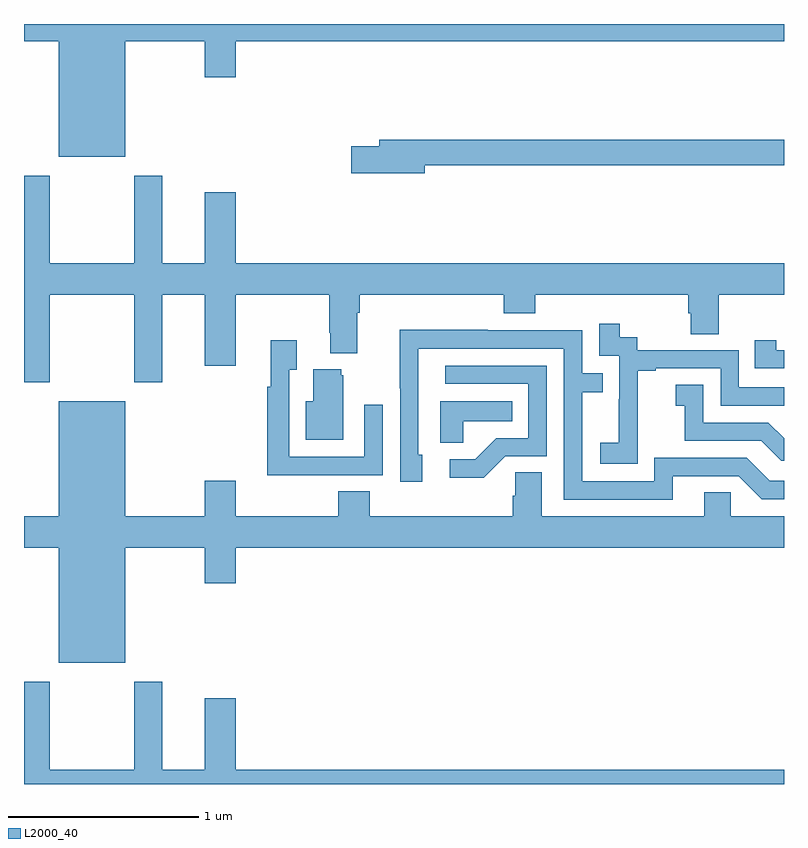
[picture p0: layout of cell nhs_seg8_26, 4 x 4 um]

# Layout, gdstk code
import gdstk
lib = gdstk.Library(unit=1e-6, precision=1e-09)
def P(c, l, *ps):  # polygons
    for p in ps: c.add(gdstk.Polygon(p, *l))
L2000_40 = (2000, 40)

nhs_seg8_26 = lib.new_cell('nhs_seg8_26')
P(nhs_seg8_26, L2000_40, [(111.532,1141.808),(111.95,1141.808),(111.95,1141.62),(112.114,1141.62),(112.114,1141.808),(115,1141.808),(115,1141.9),(111,1141.9),(111,1141.808),(111.182,1141.808),(111.182,1141.202),(111.532,1141.202)],
  [(113.11,1141.156),(115,1141.156),(115,1141.292),(112.871,1141.292),(112.871,1141.256),(112.722,1141.256),(112.722,1141.114),(113.11,1141.114)],
  [(111.135,1140.476),(111.58,1140.476),(111.58,1140.015),(111.727,1140.015),(111.727,1140.476),(111.95,1140.476),(111.95,1140.102),(112.114,1140.102),(112.114,1140.476),(112.606,1140.476),(112.606,1140.274),(112.613,1140.274),(112.613,1140.167),(112.753,1140.167),(112.753,1140.38),(112.766,1140.38),(112.766,1140.476),(113.525,1140.476),(113.525,1140.377),(113.69,1140.377),(113.69,1140.476),(114.497,1140.476),(114.497,1140.378),(114.509,1140.378),(114.509,1140.268),(114.657,1140.268),(114.657,1140.476),(115,1140.476),(115,1140.64),(112.114,1140.64),(112.114,1141.015),(111.95,1141.015),(111.95,1140.64),(111.727,1140.64),(111.727,1141.102),(111.58,1141.102),(111.58,1140.64),(111.135,1140.64),(111.135,1141.102),(111,1141.102),(111,1140.015),(111.135,1140.015)],
  [(114.231,1139.791),(114.23,1139.791),(114.23,1140.075),(114.325,1140.075),(114.325,1140.087),(114.666,1140.087),(114.666,1139.892),(115,1139.892),(115,1139.988),(114.762,1139.988),(114.762,1140.183),(114.228,1140.183),(114.228,1140.252),(114.136,1140.252),(114.136,1140.322),(114.027,1140.322),(114.027,1140.153),(114.132,1140.153),(114.132,1139.924),(114.131,1139.924),(114.131,1139.695),(114.033,1139.695),(114.033,1139.585),(114.231,1139.585)],
  [(114.415,1139.52),(114.762,1139.52),(114.882,1139.4),(115,1139.4),(115,1139.496),(114.924,1139.496),(114.804,1139.616),(114.318,1139.616),(114.318,1139.493),(113.937,1139.493),(113.937,1139.962),(114.047,1139.962),(114.047,1140.063),(113.937,1140.063),(113.937,1140.288),(113.441,1140.288),(113.441,1140.29),(112.978,1140.29),(112.978,1139.983),(112.98,1139.983),(112.98,1139.49),(113.095,1139.49),(113.095,1139.634),(113.076,1139.634),(113.076,1140.192),(113.841,1140.192),(113.841,1139.397),(114.415,1139.397)],
  [(115,1140.183),(114.958,1140.183),(114.958,1140.235),(114.847,1140.235),(114.847,1140.087),(115,1140.087)],
  [(112.571,1139.526),(112.887,1139.526),(112.887,1139.896),(112.791,1139.896),(112.791,1139.622),(112.395,1139.622),(112.395,1140.079),(112.435,1140.079),(112.435,1140.235),(112.298,1140.235),(112.298,1139.99),(112.279,1139.99),(112.279,1139.525),(112.571,1139.525)],
  [(113.532,1139.625),(113.751,1139.625),(113.751,1140.102),(113.217,1140.102),(113.217,1140.006),(113.655,1140.006),(113.655,1139.721),(113.486,1139.721),(113.375,1139.61),(113.241,1139.61),(113.241,1139.513),(113.419,1139.513)],
  [(112.681,1140.051),(112.67,1140.051),(112.67,1140.082),(112.523,1140.082),(112.523,1139.914),(112.484,1139.914),(112.484,1139.711),(112.681,1139.711)],
  [(115,1139.72),(114.918,1139.802),(114.576,1139.802),(114.576,1140.001),(114.429,1140.001),(114.429,1139.891),(114.478,1139.891),(114.478,1139.706),(114.881,1139.706),(114.986,1139.601),(115,1139.601)],
  [(113.313,1139.81),(113.57,1139.81),(113.57,1139.914),(113.192,1139.914),(113.192,1139.695),(113.313,1139.695)],
  [(111.532,1139.144),(111.95,1139.144),(111.95,1138.956),(112.114,1138.956),(112.114,1139.144),(115,1139.144),(115,1139.308),(114.72,1139.308),(114.72,1139.435),(114.581,1139.435),(114.581,1139.308),(113.725,1139.308),(113.725,1139.54),(113.586,1139.54),(113.586,1139.417),(113.573,1139.417),(113.573,1139.308),(112.82,1139.308),(112.82,1139.441),(112.655,1139.441),(112.655,1139.308),(112.114,1139.308),(112.114,1139.497),(111.95,1139.497),(111.95,1139.308),(111.532,1139.308),(111.532,1139.914),(111.182,1139.914),(111.182,1139.308),(111,1139.308),(111,1139.144),(111.182,1139.144),(111.182,1138.538),(111.532,1138.538)],
  [(115,1137.976),(112.114,1137.976),(112.114,1138.351),(111.95,1138.351),(111.95,1137.976),(111.727,1137.976),(111.727,1138.438),(111.58,1138.438),(111.58,1137.976),(111.135,1137.976),(111.135,1138.438),(111,1138.438),(111,1137.9),(115,1137.9)])

lib.write_gds('nhs_seg8_26.gds')
